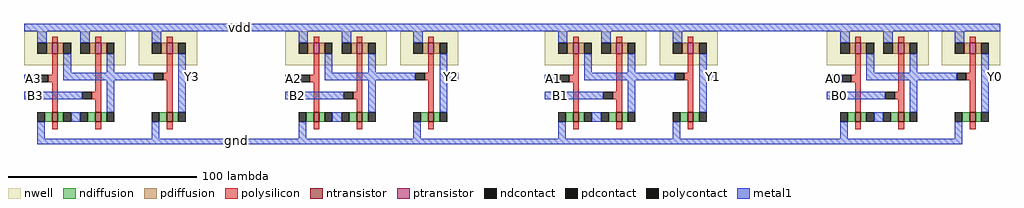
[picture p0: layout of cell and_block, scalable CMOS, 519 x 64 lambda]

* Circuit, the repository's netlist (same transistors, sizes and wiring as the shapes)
AND block(2022102068)
.include TSMC_180nm.txt
.param SUPPLY=1.8
.param LAMBDA=0.09u
.param p_width=8*LAMBDA
.param n_width=4*LAMBDA
.global gnd 
.global vdd


.option scale=0.09u

Vdd vdd gnd 'SUPPLY'
* V_in1 A0 gnd pulse(0 1.8 0ns 10ps 10ps 10ns 20ns)
* V_in2 A1 gnd pulse(0 1.8 0ns 10ps 10ps 10ns 20ns)
* V_in3 A2 gnd pulse(0 1.8 0ns 10ps 10ps 30ns 50ns)
* V_in4 A3 gnd pulse(0 1.8 0ns 10ps 10ps 30ns 50ns)

* V_in5 B0 gnd pulse(0 1.8 0ns 10ps 10ps 20ns 40ns)
* V_in6 B1 gnd pulse(0 1.8 0ns 10ps 10ps 20ns 40ns)
* V_in7 B2 gnd pulse(0 1.8 0ns 10ps 10ps 40ns 60ns)
* V_in8 B3 gnd pulse(0 1.8 0ns 10ps 10ps 40ns 60ns)

* V_in1 A0 gnd pulse(0 1.8 0ns 10ps 10ps 10ns 20ns)
* V_in2 A1 gnd pulse(0 1.8 0ns 10ps 10ps 20ns 40ns)
* V_in3 A2 gnd pulse(0 1.8 0ns 10ps 10ps 30ns 50ns)
* V_in4 A3 gnd pulse(0 1.8 0ns 10ps 10ps 40ns 60ns)

* V_in5 B0 gnd pulse(0 1.8 0ns 10ps 10ps 10ns 20ns)
* V_in6 B1 gnd pulse(0 1.8 0ns 10ps 10ps 20ns 40ns)
* V_in7 B2 gnd pulse(0 1.8 0ns 10ps 10ps 30ns 50ns)
* V_in8 B3 gnd pulse(0 1.8 0ns 10ps 10ps 40ns 60ns)

V_in1 A0 gnd pulse(0 1.8 0ns 10ps 10ps 10ns 20ns)
V_in2 A1 gnd pulse(0 1.8 0ns 10ps 10ps 20ns 40ns)
V_in3 A2 gnd pulse(0 1.8 0ns 10ps 10ps 30ns 50ns)
V_in4 A3 gnd pulse(0 1.8 0ns 10ps 10ps 40ns 60ns)

V_in5 B0 gnd pulse(0 1.8 0ns 10ps 10ps 10ns 20ns)
V_in6 B1 gnd pulse(0 1.8 0ns 10ps 10ps 20ns 40ns)
V_in7 B2 gnd pulse(0 1.8 0ns 10ps 10ps 30ns 50ns)
V_in8 B3 gnd dc SUPPLY

M1000 Y2 a_128_39# vdd w_171_33# CMOSP w=6 l=3
+  ad=42 pd=26 as=576 ps=336
M1001 Y0 a_416_39# vdd w_459_33# CMOSP w=6 l=3
+  ad=42 pd=26 as=0 ps=0
M1002 a_128_3# A2 gnd Gnd CMOSN w=5 l=3
+  ad=75 pd=50 as=320 ps=208
M1003 Y2 a_128_39# gnd Gnd CMOSN w=5 l=3
+  ad=35 pd=24 as=0 ps=0
M1004 a_416_3# A0 gnd Gnd CMOSN w=5 l=3
+  ad=75 pd=50 as=0 ps=0
M1005 Y0 a_416_39# gnd Gnd CMOSN w=5 l=3
+  ad=35 pd=24 as=0 ps=0
M1006 a_128_39# B2 a_128_3# Gnd CMOSN w=5 l=3
+  ad=35 pd=24 as=0 ps=0
M1007 a_128_39# A2 vdd w_110_33# CMOSP w=6 l=3
+  ad=84 pd=52 as=0 ps=0
M1008 a_416_39# A0 vdd w_398_33# CMOSP w=6 l=3
+  ad=84 pd=52 as=0 ps=0
M1009 a_416_39# B0 a_416_3# Gnd CMOSN w=5 l=3
+  ad=35 pd=24 as=0 ps=0
M1010 a_128_39# B2 vdd w_110_33# CMOSP w=6 l=3
+  ad=0 pd=0 as=0 ps=0
M1011 a_416_39# B0 vdd w_398_33# CMOSP w=6 l=3
+  ad=0 pd=0 as=0 ps=0
M1012 a_n11_39# A3 vdd w_n29_33# CMOSP w=6 l=3
+  ad=84 pd=52 as=0 ps=0
M1013 a_n11_39# B3 a_n11_3# Gnd CMOSN w=5 l=3
+  ad=35 pd=24 as=75 ps=50
M1014 a_n11_39# B3 vdd w_n29_33# CMOSP w=6 l=3
+  ad=0 pd=0 as=0 ps=0
M1015 a_266_3# A1 gnd Gnd CMOSN w=5 l=3
+  ad=75 pd=50 as=0 ps=0
M1016 Y1 a_266_39# gnd Gnd CMOSN w=5 l=3
+  ad=35 pd=24 as=0 ps=0
M1017 Y1 a_266_39# vdd w_309_33# CMOSP w=6 l=3
+  ad=42 pd=26 as=0 ps=0
M1018 a_266_39# A1 vdd w_248_33# CMOSP w=6 l=3
+  ad=84 pd=52 as=0 ps=0
M1019 a_266_39# B1 vdd w_248_33# CMOSP w=6 l=3
+  ad=0 pd=0 as=0 ps=0
M1020 a_266_39# B1 a_266_3# Gnd CMOSN w=5 l=3
+  ad=35 pd=24 as=0 ps=0
M1021 Y3 a_n11_39# gnd Gnd CMOSN w=5 l=3
+  ad=35 pd=24 as=0 ps=0
M1022 Y3 a_n11_39# vdd w_32_33# CMOSP w=6 l=3
+  ad=42 pd=26 as=0 ps=0
M1023 a_n11_3# A3 gnd Gnd CMOSN w=5 l=3
+  ad=0 pd=0 as=0 ps=0

.tran 0.01n 100n

.measure tran trise
+ TRIG v(A0) VAL = 'SUPPLY/2' RISE=1
+ TARG v(Y0) VAL = 'SUPPLY/2' RISE=1

.measure tran tfall
+ TRIG v(A0) VAL = 'SUPPLY/2' FALL=1
+ TARG v(Y0) VAL = 'SUPPLY/2' FALL=1

.measure tran tpd_A0 param = '(trise + tfall)/2' goal = 0

.measure tran trise1
+ TRIG v(A1) VAL = 'SUPPLY/2' RISE=1
+ TARG v(Y1) VAL = 'SUPPLY/2' RISE=1

.measure tran tfall1
+ TRIG v(A1) VAL = 'SUPPLY/2' FALL=1
+ TARG v(Y1) VAL = 'SUPPLY/2' FALL=1

.measure tran tpd_A1 param = '(trise1 + tfall1)/2' goal = 0

.measure tran trise2
+ TRIG v(A2) VAL = 'SUPPLY/2' RISE=1
+ TARG v(Y2) VAL = 'SUPPLY/2' RISE=1

.measure tran tfall2
+ TRIG v(A2) VAL = 'SUPPLY/2' FALL=1
+ TARG v(Y2) VAL = 'SUPPLY/2' FALL=1

.measure tran tpd_A2 param = '(trise2 + tfall2)/2' goal = 0

.measure tran trise3
+ TRIG v(A3) VAL = 'SUPPLY/2' RISE=1
+ TARG v(Y3) VAL = 'SUPPLY/2' RISE=1

.measure tran tfall3
+ TRIG v(A3) VAL = 'SUPPLY/2' FALL=1
+ TARG v(Y3) VAL = 'SUPPLY/2' FALL=1

.measure tran tpd_A3 param = '(trise3 + tfall3)/2' goal = 0

* .measure tran trise4
* + TRIG v(B3) VAL = 'SUPPLY/2' RISE=1
* + TARG v(Y3) VAL = 'SUPPLY/2' RISE=1

* .measure tran tfall4
* + TRIG v(B3) VAL = 'SUPPLY/2' FALL=1
* + TARG v(Y3) VAL = 'SUPPLY/2' FALL=1

* .measure tran tpd_B3 param = '(trise4 + tfall4)/2' goal = 0
.control
run
plot v(A0) v(A1)+2 v(A2)+4 v(A3)+6 v(B0)+8 v(B1)+10 v(B2)+12 v(B3)+14 v(Y0)+16 v(Y1)+18 v(Y2)+20 v(Y3)+22
*quit
.endc 
.end

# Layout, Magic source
magic
tech scmos
<< nwell >>
rect -29 33 25 51
rect 32 33 63 51
rect 110 33 164 51
rect 171 33 202 51
rect 248 33 302 51
rect 309 33 340 51
rect 398 33 452 51
rect 459 33 490 51
<< ntransistor >>
rect -14 3 -11 8
rect 9 3 12 8
rect 47 3 50 8
rect 125 3 128 8
rect 148 3 151 8
rect 186 3 189 8
rect 263 3 266 8
rect 286 3 289 8
rect 324 3 327 8
rect 413 3 416 8
rect 436 3 439 8
rect 474 3 477 8
<< ptransistor >>
rect -14 39 -11 45
rect 9 39 12 45
rect 47 39 50 45
rect 125 39 128 45
rect 148 39 151 45
rect 186 39 189 45
rect 263 39 266 45
rect 286 39 289 45
rect 324 39 327 45
rect 413 39 416 45
rect 436 39 439 45
rect 474 39 477 45
<< ndiffusion >>
rect -18 3 -14 8
rect -11 3 -8 8
rect 5 3 9 8
rect 12 3 15 8
rect 43 3 47 8
rect 50 3 53 8
rect 121 3 125 8
rect 128 3 131 8
rect 144 3 148 8
rect 151 3 154 8
rect 182 3 186 8
rect 189 3 192 8
rect 259 3 263 8
rect 266 3 269 8
rect 282 3 286 8
rect 289 3 292 8
rect 320 3 324 8
rect 327 3 330 8
rect 409 3 413 8
rect 416 3 419 8
rect 432 3 436 8
rect 439 3 442 8
rect 470 3 474 8
rect 477 3 480 8
<< pdiffusion >>
rect -17 39 -14 45
rect -11 39 -8 45
rect 6 39 9 45
rect 12 39 15 45
rect 44 39 47 45
rect 50 39 53 45
rect 122 39 125 45
rect 128 39 131 45
rect 145 39 148 45
rect 151 39 154 45
rect 183 39 186 45
rect 189 39 192 45
rect 260 39 263 45
rect 266 39 269 45
rect 283 39 286 45
rect 289 39 292 45
rect 321 39 324 45
rect 327 39 330 45
rect 410 39 413 45
rect 416 39 419 45
rect 433 39 436 45
rect 439 39 442 45
rect 471 39 474 45
rect 477 39 480 45
<< ndcontact >>
rect -22 3 -18 8
rect -8 3 -4 8
rect 1 3 5 8
rect 15 3 19 8
rect 39 3 43 8
rect 53 3 57 8
rect 117 3 121 8
rect 131 3 135 8
rect 140 3 144 8
rect 154 3 158 8
rect 178 3 182 8
rect 192 3 196 8
rect 255 3 259 8
rect 269 3 273 8
rect 278 3 282 8
rect 292 3 296 8
rect 316 3 320 8
rect 330 3 334 8
rect 405 3 409 8
rect 419 3 423 8
rect 428 3 432 8
rect 442 3 446 8
rect 466 3 470 8
rect 480 3 484 8
<< pdcontact >>
rect -22 39 -17 45
rect -8 39 -4 45
rect 1 39 6 45
rect 15 39 19 45
rect 39 39 44 45
rect 53 39 57 45
rect 117 39 122 45
rect 131 39 135 45
rect 140 39 145 45
rect 154 39 158 45
rect 178 39 183 45
rect 192 39 196 45
rect 255 39 260 45
rect 269 39 273 45
rect 278 39 283 45
rect 292 39 296 45
rect 316 39 321 45
rect 330 39 334 45
rect 405 39 410 45
rect 419 39 423 45
rect 428 39 433 45
rect 442 39 446 45
rect 466 39 471 45
rect 480 39 484 45
<< polysilicon >>
rect -14 45 -11 48
rect 9 45 12 48
rect 47 45 50 48
rect 125 45 128 48
rect 148 45 151 48
rect 186 45 189 48
rect 263 45 266 48
rect 286 45 289 48
rect 324 45 327 48
rect 413 45 416 48
rect 436 45 439 48
rect 474 45 477 48
rect -14 28 -11 39
rect -16 24 -11 28
rect -14 8 -11 24
rect 9 19 12 39
rect 47 29 50 39
rect 45 25 50 29
rect 125 28 128 39
rect 7 15 12 19
rect 9 8 12 15
rect 47 8 50 25
rect 123 24 128 28
rect 125 8 128 24
rect 148 19 151 39
rect 186 29 189 39
rect 184 25 189 29
rect 263 28 266 39
rect 146 15 151 19
rect 148 8 151 15
rect 186 8 189 25
rect 261 24 266 28
rect 263 8 266 24
rect 286 19 289 39
rect 324 29 327 39
rect 322 25 327 29
rect 413 28 416 39
rect 284 15 289 19
rect 286 8 289 15
rect 324 8 327 25
rect 411 24 416 28
rect 413 8 416 24
rect 436 19 439 39
rect 474 29 477 39
rect 472 25 477 29
rect 434 15 439 19
rect 436 8 439 15
rect 474 8 477 25
rect -14 -1 -11 3
rect 9 -1 12 3
rect 47 -1 50 3
rect 125 -1 128 3
rect 148 -1 151 3
rect 186 -1 189 3
rect 263 -1 266 3
rect 286 -1 289 3
rect 324 -1 327 3
rect 413 -1 416 3
rect 436 -1 439 3
rect 474 -1 477 3
<< polycontact >>
rect -21 24 -16 28
rect 40 25 45 29
rect 2 15 7 19
rect 118 24 123 28
rect 179 25 184 29
rect 141 15 146 19
rect 256 24 261 28
rect 317 25 322 29
rect 279 15 284 19
rect 406 24 411 28
rect 467 25 472 29
rect 429 15 434 19
<< metal1 >>
rect -29 51 490 55
rect -22 45 -17 51
rect 1 45 6 51
rect 39 45 44 51
rect 117 45 122 51
rect 140 45 145 51
rect 178 45 183 51
rect 255 45 260 51
rect 278 45 283 51
rect 316 45 321 51
rect 405 45 410 51
rect 428 45 433 51
rect 466 45 471 51
rect -8 29 -4 39
rect 15 29 19 39
rect 53 29 57 39
rect 131 29 135 39
rect 154 29 158 39
rect 192 29 196 39
rect 269 29 273 39
rect 292 29 296 39
rect 330 29 334 39
rect 419 29 423 39
rect 442 29 446 39
rect 480 29 484 39
rect -29 24 -21 28
rect -8 25 40 29
rect 53 25 63 29
rect -29 15 2 19
rect 15 8 19 25
rect 53 8 57 25
rect 110 24 118 28
rect 131 25 179 29
rect 192 25 202 29
rect 110 15 141 19
rect 154 8 158 25
rect 192 8 196 25
rect 248 24 256 28
rect 269 25 317 29
rect 330 25 340 29
rect 248 15 279 19
rect 292 8 296 25
rect 330 8 334 25
rect 398 24 406 28
rect 419 25 467 29
rect 480 25 490 29
rect 398 15 429 19
rect 442 8 446 25
rect 480 8 484 25
rect -4 3 1 8
rect 135 3 140 8
rect 273 3 278 8
rect 423 3 428 8
rect -22 -6 -18 3
rect 39 -6 43 3
rect 117 -6 121 3
rect 178 -6 182 3
rect 255 -6 259 3
rect 316 -6 320 3
rect 405 -6 409 3
rect 466 -6 470 3
rect -22 -9 470 -6
<< labels >>
rlabel metal1 84 52 88 54 5 vdd
rlabel metal1 82 -8 86 -6 1 gnd
rlabel metal1 -26 25 -22 27 3 A3
rlabel metal1 -25 16 -21 18 1 B3
rlabel metal1 59 26 62 28 1 Y3
rlabel metal1 113 25 116 27 1 A2
rlabel metal1 115 16 118 18 1 B2
rlabel metal1 197 26 200 28 1 Y2
rlabel metal1 251 25 254 27 1 A1
rlabel metal1 255 16 258 18 1 B1
rlabel metal1 336 26 339 28 1 Y1
rlabel metal1 400 25 403 27 1 A0
rlabel metal1 403 16 406 18 1 B0
rlabel metal1 486 26 489 28 7 Y0
<< end >>
